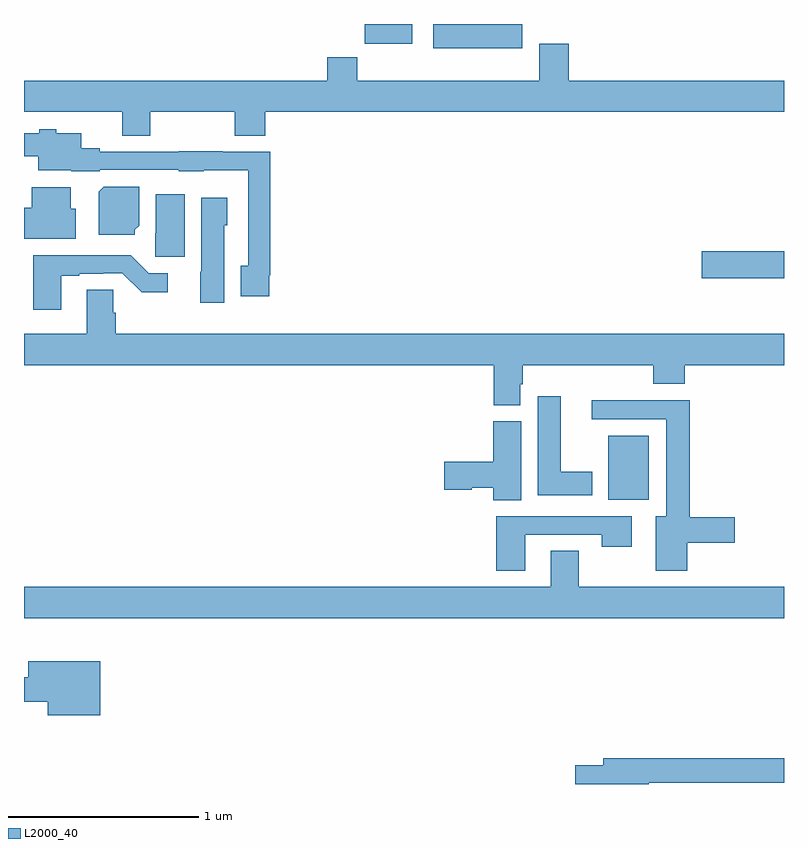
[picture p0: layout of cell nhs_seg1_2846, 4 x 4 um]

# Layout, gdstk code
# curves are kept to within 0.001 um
import gdstk
lib = gdstk.Library(unit=1e-6, precision=1e-09)
def R(c, l, rs):  # rectangles x0, y0, x1, y1
    for r in rs: c.add(gdstk.rectangle(r[:2], r[2:], *l))
def P(c, l, *ps):  # polygons
    for p in ps: c.add(gdstk.Polygon(p, *l))
L2000_40 = (2000, 40)

nhs_seg1_2846 = lib.new_cell('nhs_seg1_2846')
R(nhs_seg1_2846, L2000_40, [(268.076,545.696,268.288,546.031), (268.566,546.862,269,547.004), (267.153,548.072,267.622,548.199), (266.794,548.094,267.043,548.199)])
P(nhs_seg1_2846, L2000_40, [(265.665,547.736),(266.11,547.736),(266.11,547.612),(266.27,547.612),(266.27,547.736),(269,547.736),(269,547.9),(267.866,547.9),(267.866,548.095),(267.713,548.095),(267.713,547.9),(266.753,547.9),(266.753,548.024),(266.597,548.024),(266.597,547.9),(265,547.9),(265,547.736),(265.517,547.736),(265.517,547.612),(265.665,547.612)],
  [(266.29,546.877),(266.297,546.877),(266.297,547.527),(266.047,547.527),(266.047,547.529),(265.815,547.529),(265.815,547.527),(265.398,547.527),(265.398,547.546),(265.3,547.546),(265.3,547.624),(265.17,547.624),(265.17,547.645),(265.08,547.645),(265.08,547.624),(265,547.624),(265,547.502),(265.076,547.502),(265.076,547.43),(265.248,547.43),(265.248,547.424),(265.398,547.424),(265.398,547.431),(265.815,547.431),(265.815,547.424),(265.947,547.424),(265.947,547.43),(266.181,547.43),(266.181,546.926),(266.141,546.926),(266.141,546.765),(266.29,546.765)],
  [(265.584,547.116),(265.606,547.138),(265.606,547.342),(265.42,547.342),(265.394,547.316),(265.394,547.091),(265.584,547.091)],
  [(265.273,547.227),(265.246,547.227),(265.246,547.34),(265.04,547.34),(265.04,547.231),(265,547.231),(265,547.07),(265.273,547.07)],
  [(265.846,547.303),(265.694,547.303),(265.694,547.098),(265.69,547.098),(265.69,546.975),(265.846,546.975)],
  [(266.053,547.14),(266.071,547.14),(266.071,547.285),(265.934,547.285),(265.934,546.894),(265.928,546.894),(265.928,546.732),(266.053,546.732)],
  [(265.195,546.873),(265.291,546.873),(265.291,546.885),(265.418,546.885),(265.418,546.888),(265.518,546.888),(265.621,546.786),(265.756,546.786),(265.756,546.888),(265.656,546.888),(265.562,546.982),(265.048,546.981),(265.048,546.696),(265.195,546.696)],
  [(267.613,546.303),(267.626,546.303),(267.626,546.404),(268.313,546.404),(268.313,546.305),(268.478,546.305),(268.478,546.404),(269,546.404),(269,546.568),(265.484,546.568),(265.484,546.678),(265.47,546.678),(265.47,546.8),(265.331,546.8),(265.331,546.568),(265,546.568),(265,546.404),(267.473,546.404),(267.473,546.193),(267.613,546.193)],
  [(267.991,545.842),(267.826,545.842),(267.826,546.241),(267.704,546.241),(267.704,545.72),(267.991,545.72)],
  [(268.492,545.468),(268.741,545.468),(268.741,545.603),(268.505,545.603),(268.505,546.218),(267.987,546.218),(267.987,546.12),(268.379,546.12),(268.379,545.608),(268.325,545.608),(268.325,545.322),(268.492,545.322)],
  [(267.616,546.108),(267.47,546.108),(267.47,545.894),(267.213,545.894),(267.213,545.747),(267.356,545.747),(267.356,545.759),(267.47,545.759),(267.47,545.692),(267.616,545.692)],
  [(267.637,545.511),(268.042,545.511),(268.042,545.448),(268.198,545.448),(268.198,545.607),(267.485,545.607),(267.485,545.322),(267.637,545.322)],
  [(269,545.236),(267.921,545.236),(267.921,545.426),(267.773,545.426),(267.773,545.236),(265,545.236),(265,545.072),(269,545.072)],
  [(265.402,544.846),(265.022,544.846),(265.022,544.762),(265,544.762),(265,544.633),(265.124,544.633),(265.124,544.562),(265.402,544.562)],
  [(268.288,544.206),(269,544.206),(269,544.334),(268.049,544.334),(268.049,544.298),(267.9,544.298),(267.9,544.199),(268.288,544.199)])

lib.write_gds('nhs_seg1_2846.gds')
